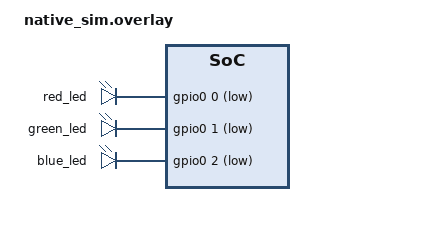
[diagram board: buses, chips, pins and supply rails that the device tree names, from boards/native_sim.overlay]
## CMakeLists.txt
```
# SPDX-License-Identifier: Apache-2.0

cmake_minimum_required(VERSION 3.20.0)

find_package(Zephyr REQUIRED HINTS $ENV{ZEPHYR_BASE})
project(test_led_svc)

target_compile_options(app PRIVATE -Werror)

# The Led class on Zephyr's GPIO LED driver, over native_sim's emulated GPIOs.
target_include_directories(app PRIVATE ../inc ../src)

target_sources(app PRIVATE
    ../src/led.cpp
    src/test_led.cpp
)
```

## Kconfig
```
# SPDX-License-Identifier: Apache-2.0

source "Kconfig.zephyr"

# The component's own options (its log level).
rsource "../Kconfig"
```

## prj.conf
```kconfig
# GoogleTest unit test. lib/gtest builds gtest/gmock and provides main();
# Twister runs it with the gtest harness.
CONFIG_GTEST=y

# Same C++ settings as production so test codegen matches.
CONFIG_CPP=y
CONFIG_STD_CPP23=y
CONFIG_REQUIRES_FULL_LIBCPP=y
CONFIG_CPP_EXCEPTIONS=n
CONFIG_CPP_RTTI=n

CONFIG_GPIO=y
CONFIG_LED=y

CONFIG_ASSERT=y
CONFIG_BOOT_BANNER=n
CONFIG_LOG=y

# gtest/gmock need more stack and heap than Zephyr's defaults.
CONFIG_MAIN_STACK_SIZE=32768
CONFIG_HEAP_MEM_POOL_SIZE=131072
```

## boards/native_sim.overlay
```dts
/* SPDX-License-Identifier: Apache-2.0 */

/ {
	aliases {
		status-led-red = &red_led;
		status-led-green = &green_led;
		status-led-blue = &blue_led;
	};

	leds {
		compatible = "gpio-leds";

		red_led: red_led {
			gpios = <&gpio0 0 GPIO_ACTIVE_LOW>;
		};

		green_led: green_led {
			gpios = <&gpio0 1 GPIO_ACTIVE_LOW>;
		};

		blue_led: blue_led {
			gpios = <&gpio0 2 GPIO_ACTIVE_LOW>;
		};
	};
};
```

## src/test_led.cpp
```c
/**
 * @file test_led.cpp
 * @brief led_svc::Led on Zephyr's GPIO LED driver, against native_sim's emulated GPIOs.
 *
 * SPDX-License-Identifier: Apache-2.0
 */

#include "led.hpp"

#include <zephyr/drivers/gpio.h>
#include <zephyr/drivers/gpio/gpio_emul.h>
#include <zephyr/drivers/led.h>

#include <gtest/gtest.h>

namespace
{

using led_svc::Color;

/** @brief Whether the LED on @p pin is lit: they are active low. */
bool lit( gpio_pin_t pin )
{
    return gpio_emul_output_get( DEVICE_DT_GET( DT_NODELABEL( gpio0 ) ), pin ) == 0;
}

class LedTest : public testing::Test
{
protected:
    void SetUp() override
    {
        ASSERT_TRUE( led_.init() );
    }

    static void expect_lit( bool red, bool green, bool blue )
    {
        EXPECT_EQ( lit( 0 ), red );
        EXPECT_EQ( lit( 1 ), green );
        EXPECT_EQ( lit( 2 ), blue );
    }

    led_svc::Led led_{ LED_DT_SPEC_GET( DT_ALIAS( status_led_red ) ), LED_DT_SPEC_GET( DT_ALIAS( status_led_green ) ),
                       LED_DT_SPEC_GET( DT_ALIAS( status_led_blue ) ) };
};

TEST_F( LedTest, InitTurnsAllOff )
{
    ASSERT_TRUE( led_.show( Color::red ) );
    ASSERT_TRUE( led_.init() );
    expect_lit( false, false, false );
    EXPECT_EQ( led_.color(), Color::off );
}

TEST_F( LedTest, ShowsOneColorAtATime )
{
    ASSERT_TRUE( led_.show( Color::green ) );
    expect_lit( false, true, false );
    EXPECT_EQ( led_.color(), Color::green );

    ASSERT_TRUE( led_.show( Color::blue ) );
    expect_lit( false, false, true );

    ASSERT_TRUE( led_.show( Color::red ) );
    expect_lit( true, false, false );
}

TEST_F( LedTest, OffTurnsAllOff )
{
    ASSERT_TRUE( led_.show( Color::blue ) );
    ASSERT_TRUE( led_.show( Color::off ) );
    expect_lit( false, false, false );
    EXPECT_EQ( led_.color(), Color::off );
}

} // namespace
```
